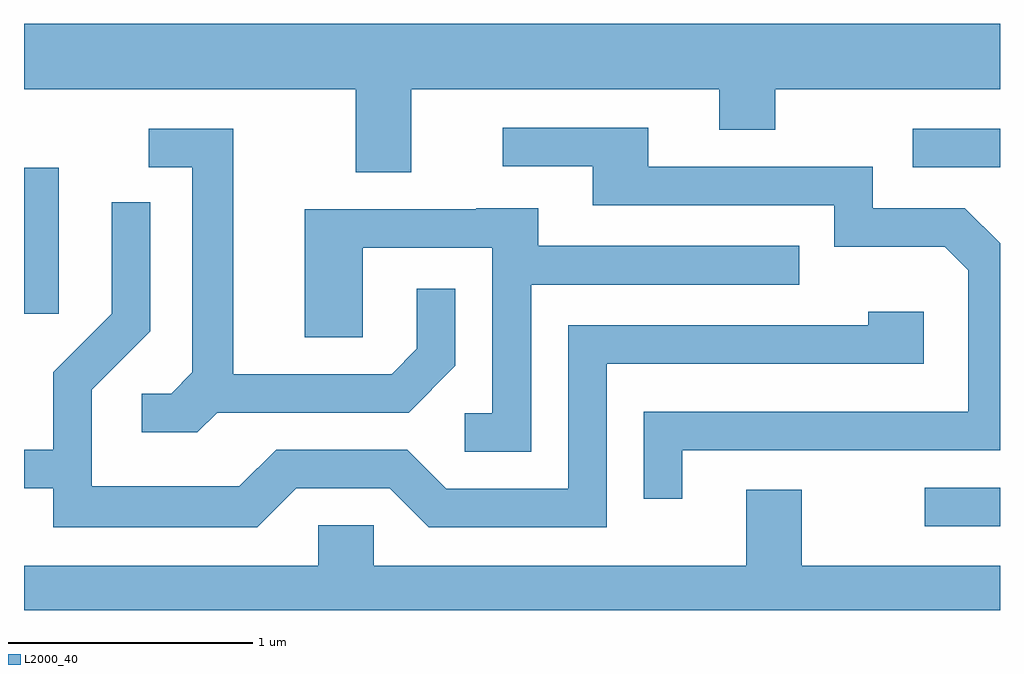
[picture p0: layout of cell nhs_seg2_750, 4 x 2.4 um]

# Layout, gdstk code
import gdstk
lib = gdstk.Library(unit=1e-6, precision=1e-09)
def R(c, l, rs):  # rectangles x0, y0, x1, y1
    for r in rs: c.add(gdstk.rectangle(r[:2], r[2:], *l))
def P(c, l, *ps):  # polygons
    for p in ps: c.add(gdstk.Polygon(p, *l))
L2000_40 = (2000, 40)

nhs_seg2_750 = lib.new_cell('nhs_seg2_750')
R(nhs_seg2_750, L2000_40, [(211.303,982.146,211.611,982.304), (207.611,983.016,207.754,983.614), (211.253,983.616,211.611,983.774)])
P(nhs_seg2_750, L2000_40, [(209.199,983.936),(210.461,983.936),(210.461,983.771),(210.689,983.771),(210.689,983.936),(211.611,983.936),(211.611,984.204),(207.611,984.204),(207.611,983.936),(208.971,983.936),(208.971,983.596),(209.199,983.596)],
  [(210.309,982.456),(211.611,982.456),(211.611,983.305),(211.467,983.449),(211.089,983.449),(211.089,983.619),(210.169,983.619),(210.169,983.779),(209.573,983.779),(209.573,983.621),(209.941,983.621),(209.941,983.461),(210.931,983.461),(210.931,983.291),(211.384,983.291),(211.481,983.194),(211.481,982.614),(210.151,982.614),(210.151,982.258),(210.309,982.258)],
  [(208.402,982.611),(209.187,982.611),(209.379,982.804),(209.379,983.118),(209.221,983.118),(209.221,982.872),(209.119,982.769),(208.469,982.769),(208.469,983.774),(208.123,983.774),(208.123,983.616),(208.301,983.616),(208.301,982.777),(208.214,982.689),(208.093,982.689),(208.093,982.531),(208.322,982.531)],
  [(208.727,982.301),(209.109,982.301),(209.269,982.141),(209.999,982.141),(209.999,982.811),(211.299,982.811),(211.299,983.024),(211.071,983.024),(211.071,982.969),(209.841,982.969),(209.841,982.299),(209.342,982.299),(209.182,982.459),(208.644,982.459),(208.494,982.309),(207.889,982.309),(207.889,982.704),(208.129,982.944),(208.129,983.473),(207.971,983.473),(207.971,983.017),(207.731,982.777),(207.731,982.459),(207.611,982.459),(207.611,982.301),(207.731,982.301),(207.731,982.141),(208.567,982.141)],
  [(209.689,983.136),(210.788,983.136),(210.788,983.294),(209.719,983.294),(209.719,983.449),(209.465,983.449),(209.465,983.444),(208.761,983.444),(208.761,982.921),(208.999,982.921),(208.999,983.286),(209.531,983.286),(209.531,982.609),(209.418,982.609),(209.418,982.451),(209.689,982.451)],
  [(211.611,981.984),(210.799,981.984),(210.799,982.294),(210.571,982.294),(210.571,981.984),(209.044,981.984),(209.044,982.149),(208.816,982.149),(208.816,981.984),(207.611,981.984),(207.611,981.802),(211.611,981.802)])

lib.write_gds('nhs_seg2_750.gds')
